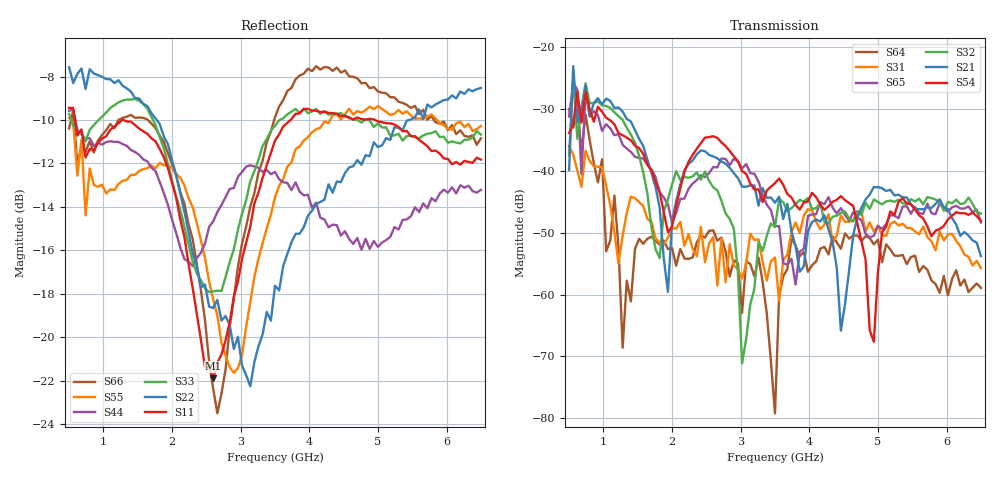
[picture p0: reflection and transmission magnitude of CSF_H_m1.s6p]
!Keysight Technologies,M9804A,MY58100912,A.14.10.03
!Date: Thursday, April 27, 2023 10:28:33
!Correction: S11(C  6-Port  )
!S12(C  6-Port  )
!S13(C  6-Port  )
!S14(C  6-Port  )
!S15(C  6-Port  )
!S16(C  6-Port  )
!S21(C  6-Port  )
!S22(C  6-Port  )
!S23(C  6-Port  )
!S24(C  6-Port  )
!S25(C  6-Port  )
!S26(C  6-Port  )
!S31(C  6-Port  )
!S32(C  6-Port  )
!S33(C  6-Port  )
!S34(C  6-Port  )
!S35(C  6-Port  )
!S36(C  6-Port  )
!S41(C  6-Port  )
!S42(C  6-Port  )
!S43(C  6-Port  )
!S44(C  6-Port  )
!S45(C  6-Port  )
!S46(C  6-Port  )
!S51(C  6-Port  )
!S52(C  6-Port  )
!S53(C  6-Port  )
!S54(C  6-Port  )
!S55(C  6-Port  )
!S56(C  6-Port  )
!S61(C  6-Port  )
!S62(C  6-Port  )
!S63(C  6-Port  )
!S64(C  6-Port  )
!S65(C  6-Port  )
!S66(C  6-Port  )
!S6P File: Measurement: :
# Hz S  RI  R 50
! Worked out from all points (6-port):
!   101 points, 500 MHz to 6.5 GHz, reference 50 ohm
!   strongest paths, dB at 500 MHz, 2 GHz, 3.5 GHz, 5 GHz, 6.5 GHz:
!     S54: -33.9, -49.1, -42.0, -56.4, -48.1
!     S21: -39.8, -48.2, -45.1, -42.6, -53.8
!     S32: -37.5, -42.2, -49.1, -45.0, -46.9
!     S65: -31.2, -48.4, -48.9, -48.9, -48.3
!     S31: -36.0, -49.3, -54.0, -48.9, -55.7
!     S64: -30.0, -52.5, -79.2, -51.1, -58.9
!   lowest |S11| = -21.9 dB at 2.6 GHz (marker M1), VSWR 1.18, Z = 42.8 + j1.88 ohm
!   |S11| at or under -10 dB: 586.2 MHz to 1.274 GHz (687.6 MHz wide, 73.9 % of centre); 1.292 GHz to 3.726 GHz (2.434 GHz wide, 97 % of centre); 4.959 GHz to end of sweep
